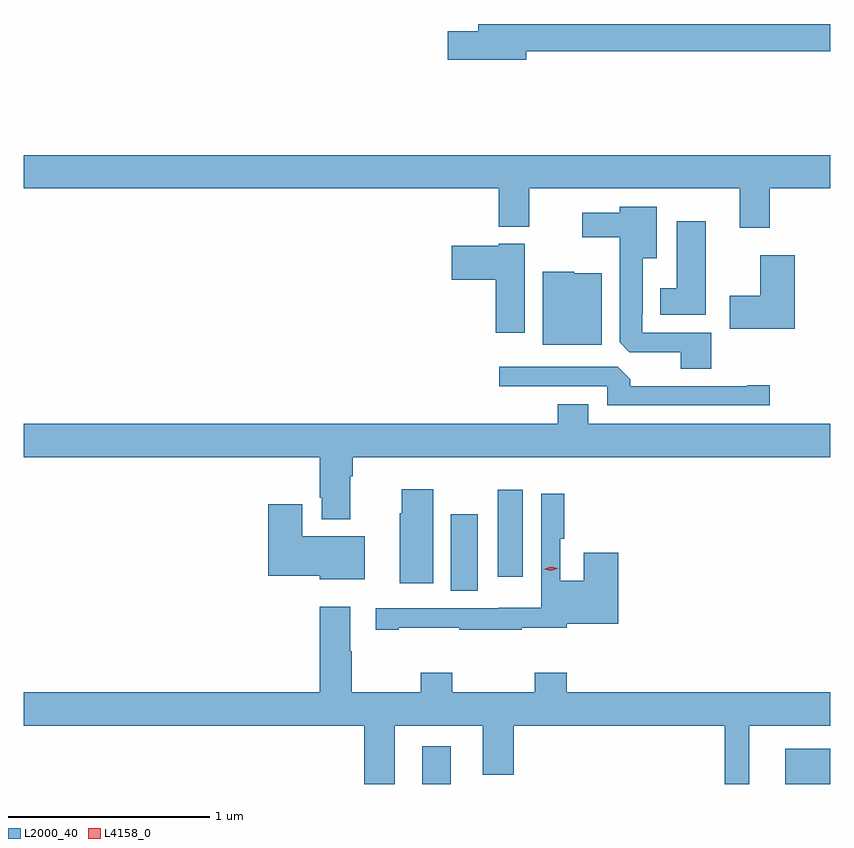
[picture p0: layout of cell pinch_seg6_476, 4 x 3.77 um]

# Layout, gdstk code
import gdstk
lib = gdstk.Library(unit=1e-6, precision=1e-09)
def R(c, l, rs):  # rectangles x0, y0, x1, y1
    for r in rs: c.add(gdstk.rectangle(r[:2], r[2:], *l))
def P(c, l, *ps):  # polygons
    for p in ps: c.add(gdstk.Polygon(p, *l))
L2000_40 = (2000, 40)
L4158_0 = (4158, 0)

pinch_seg6_476 = lib.new_cell('pinch_seg6_476')
R(pinch_seg6_476, L2000_40, [(831.875,943.05,832.015,943.237), (833.675,943.05,833.898,943.225), (832.016,944.008,832.15,944.389), (832.25,944.079,832.372,944.509)])
P(pinch_seg6_476, L2000_40, [(832.39,946.684),(833.898,946.684),(833.898,946.82),(832.151,946.82),(832.151,946.784),(832.002,946.784),(832.002,946.642),(832.39,946.642)],
  [(833.598,946.004),(833.898,946.004),(833.898,946.168),(829.898,946.168),(829.898,946.004),(832.253,946.004),(832.253,945.815),(832.405,945.815),(832.405,946.004),(833.45,946.004),(833.45,945.81),(833.598,945.81)],
  [(833.309,945.288),(832.965,945.288),(832.965,945.385),(832.969,945.385),(832.969,945.659),(833.038,945.659),(833.038,945.913),(832.853,945.913),(832.853,945.883),(832.668,945.883),(832.668,945.761),(832.853,945.761),(832.853,945.241),(832.902,945.192),(833.156,945.192),(833.156,945.109),(833.309,945.109)],
  [(833.281,945.841),(833.138,945.841),(833.138,945.508),(833.054,945.508),(833.054,945.377),(833.281,945.377)],
  [(832.384,945.73),(832.254,945.73),(832.254,945.721),(832.02,945.721),(832.02,945.551),(832.238,945.551),(832.238,945.288),(832.384,945.288)],
  [(833.722,945.673),(833.552,945.673),(833.552,945.471),(833.4,945.471),(833.4,945.308),(833.722,945.308)],
  [(832.765,945.583),(832.629,945.583),(832.629,945.592),(832.472,945.592),(832.472,945.23),(832.765,945.23)],
  [(833.599,945.029),(833.486,945.029),(833.486,945.024),(832.907,945.024),(832.907,945.058),(832.845,945.12),(832.257,945.12),(832.257,945.024),(832.791,945.024),(832.791,944.928),(833.599,944.928)],
  [(831.517,944.576),(831.53,944.576),(831.53,944.672),(833.898,944.672),(833.898,944.836),(832.699,944.836),(832.699,944.935),(832.547,944.935),(832.547,944.836),(829.898,944.836),(829.898,944.672),(831.365,944.672),(831.365,944.47),(831.377,944.47),(831.377,944.363),(831.517,944.363)],
  [(831.928,944.512),(831.773,944.512),(831.773,944.394),(831.764,944.394),(831.764,944.046),(831.928,944.046)],
  [(831.757,943.825),(832.057,943.825),(832.057,943.815),(832.367,943.815),(832.367,943.825),(832.59,943.825),(832.59,943.844),(832.847,943.844),(832.847,944.197),(832.676,944.197),(832.676,944.059),(832.56,944.059),(832.56,944.267),(832.58,944.267),(832.58,944.491),(832.464,944.491),(832.464,943.924),(832.254,943.924),(832.254,943.923),(831.645,943.923),(831.645,943.815),(831.757,943.815)],
  [(831.589,944.278),(831.28,944.278),(831.28,944.437),(831.11,944.437),(831.11,944.084),(831.366,944.084),(831.366,944.066),(831.589,944.066)],
  [(831.739,943.34),(832.175,943.34),(832.175,943.097),(832.328,943.097),(832.328,943.34),(833.376,943.34),(833.376,943.05),(833.497,943.05),(833.497,943.34),(833.898,943.34),(833.898,943.504),(832.592,943.504),(832.592,943.603),(832.432,943.603),(832.432,943.504),(832.023,943.504),(832.023,943.603),(831.868,943.603),(831.868,943.504),(831.525,943.504),(831.525,943.709),(831.517,943.709),(831.517,943.93),(831.365,943.93),(831.365,943.504),(829.898,943.504),(829.898,943.34),(831.587,943.34),(831.587,943.05),(831.739,943.05)])
P(pinch_seg6_476, L4158_0, [(832.514,944.108),(832.478,944.115),(832.478,944.115),(832.478,944.115),(832.513,944.128),(832.549,944.121),(832.55,944.121),(832.549,944.121)])

lib.write_gds('pinch_seg6_476.gds')
